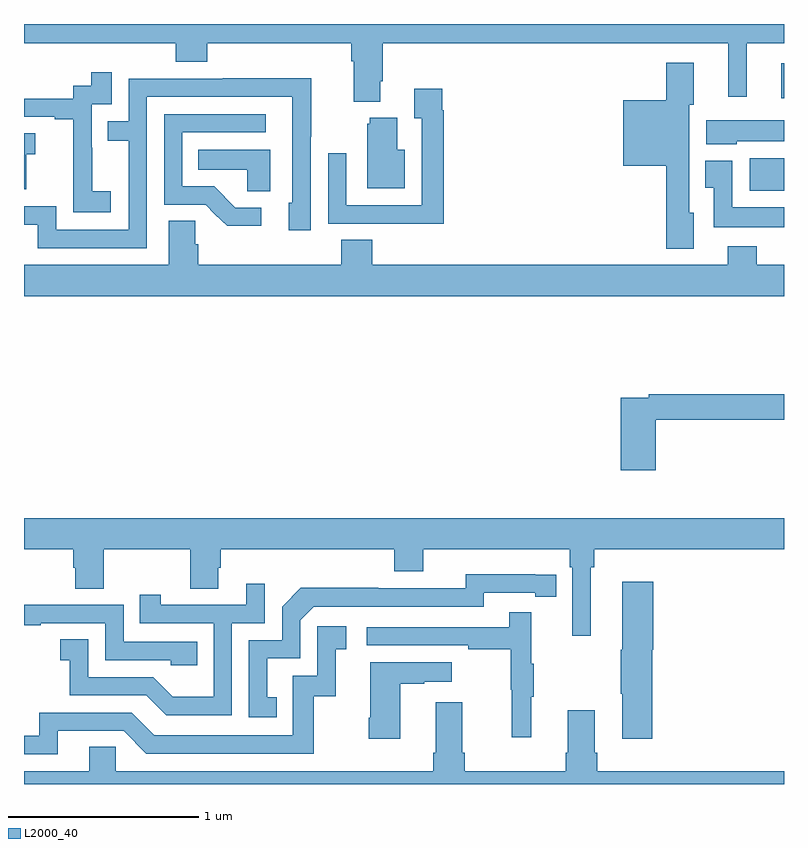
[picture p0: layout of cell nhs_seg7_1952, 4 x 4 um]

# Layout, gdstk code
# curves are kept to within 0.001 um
import gdstk
lib = gdstk.Library(unit=1e-6, precision=1e-09)
def R(c, l, rs):  # rectangles x0, y0, x1, y1
    for r in rs: c.add(gdstk.rectangle(r[:2], r[2:], *l))
def P(c, l, *ps):  # polygons
    for p in ps: c.add(gdstk.Polygon(p, *l))
L2000_40 = (2000, 40)

nhs_seg7_1952 = lib.new_cell('nhs_seg7_1952')
R(nhs_seg7_1952, L2000_40, [(244.82,1049.123,245,1049.293), (244.985,1049.609,245,1049.794)])
P(nhs_seg7_1952, L2000_40, [(242.875,1049.698),(242.888,1049.698),(242.888,1049.9),(244.706,1049.9),(244.706,1049.616),(244.805,1049.616),(244.805,1049.9),(245,1049.9),(245,1050),(241,1050),(241,1049.9),(241.799,1049.9),(241.799,1049.801),(241.964,1049.801),(241.964,1049.9),(242.723,1049.9),(242.723,1049.804),(242.735,1049.804),(242.735,1049.591),(242.875,1049.591)],
  [(244.525,1049.007),(244.501,1049.007),(244.501,1049.574),(244.525,1049.574),(244.525,1049.797),(244.379,1049.797),(244.379,1049.599),(244.154,1049.599),(244.154,1049.255),(244.379,1049.255),(244.379,1048.817),(244.525,1048.817)],
  [(241.456,1049.119),(241.358,1049.119),(241.358,1049.348),(241.356,1049.348),(241.356,1049.577),(241.461,1049.577),(241.461,1049.746),(241.353,1049.746),(241.353,1049.676),(241.26,1049.676),(241.26,1049.607),(241,1049.607),(241,1049.511),(241.163,1049.511),(241.163,1049.499),(241.259,1049.499),(241.259,1049.215),(241.258,1049.215),(241.258,1049.009),(241.456,1049.009)],
  [(241.647,1049.616),(242.412,1049.616),(242.412,1049.058),(242.393,1049.058),(242.393,1048.914),(242.508,1048.914),(242.508,1049.407),(242.511,1049.407),(242.511,1049.714),(242.047,1049.714),(242.047,1049.712),(241.551,1049.712),(241.551,1049.487),(241.441,1049.487),(241.441,1049.386),(241.551,1049.386),(241.551,1048.917),(241.17,1048.917),(241.17,1049.04),(241,1049.04),(241,1048.944),(241.073,1048.944),(241.073,1048.821),(241.647,1048.821)],
  [(243.209,1049.546),(243.202,1049.546),(243.202,1049.659),(243.053,1049.659),(243.053,1049.503),(243.093,1049.503),(243.093,1049.046),(242.697,1049.046),(242.697,1049.32),(242.601,1049.32),(242.601,1048.95),(242.917,1048.95),(242.917,1048.949),(243.209,1048.949)],
  [(242.248,1049.034),(242.113,1049.034),(242.002,1049.145),(241.833,1049.145),(241.833,1049.43),(242.272,1049.43),(242.272,1049.526),(241.737,1049.526),(241.737,1049.049),(241.956,1049.049),(242.069,1048.937),(242.248,1048.937)],
  [(243.004,1049.338),(242.965,1049.338),(242.965,1049.506),(242.819,1049.506),(242.819,1049.475),(242.807,1049.475),(242.807,1049.135),(243.004,1049.135)],
  [(244.752,1049.384),(245,1049.384),(245,1049.494),(244.59,1049.494),(244.59,1049.366),(244.752,1049.366)],
  [(241.011,1049.315),(241.06,1049.315),(241.06,1049.425),(241,1049.425),(241,1049.13),(241.011,1049.13)],
  [(242.296,1049.338),(241.918,1049.338),(241.918,1049.234),(242.175,1049.234),(242.175,1049.119),(242.296,1049.119)],
  [(245,1049.035),(244.728,1049.035),(244.728,1049.281),(244.586,1049.281),(244.586,1049.137),(244.631,1049.137),(244.631,1048.931),(245,1048.931)],
  [(242.669,1048.865),(242.669,1048.732),(241.916,1048.732),(241.916,1048.841),(241.902,1048.841),(241.902,1048.964),(241.763,1048.964),(241.763,1048.732),(241,1048.732),(241,1048.568),(245,1048.568),(245,1048.732),(244.856,1048.732),(244.856,1048.831),(244.703,1048.831),(244.703,1048.732),(242.834,1048.732),(242.834,1048.865)],
  [(244.325,1047.916),(245,1047.916),(245,1048.052),(244.288,1048.052),(244.288,1048.032),(244.142,1048.032),(244.142,1047.651),(244.325,1047.651)],
  [(243.982,1047.14),(244.001,1047.14),(244.001,1047.236),(245,1047.236),(245,1047.4),(241,1047.4),(241,1047.236),(241.259,1047.236),(241.259,1047.138),(241.271,1047.138),(241.271,1047.028),(241.419,1047.028),(241.419,1047.236),(241.876,1047.236),(241.876,1047.028),(242.023,1047.028),(242.023,1047.138),(242.036,1047.138),(242.036,1047.236),(242.948,1047.236),(242.948,1047.119),(243.1,1047.119),(243.1,1047.236),(243.872,1047.236),(243.872,1047.14),(243.885,1047.14),(243.885,1046.781),(243.982,1046.781)],
  [(242.33,1046.457),(242.281,1046.457),(242.281,1046.661),(242.454,1046.661),(242.454,1046.862),(242.526,1046.934),(243.42,1046.934),(243.42,1047.006),(243.692,1047.006),(243.692,1046.986),(243.8,1046.986),(243.8,1047.102),(243.324,1047.103),(243.324,1047.03),(242.864,1047.03),(242.864,1047.032),(242.456,1047.032),(242.358,1046.934),(242.358,1046.757),(242.184,1046.757),(242.184,1046.352),(242.33,1046.352)],
  [(244.307,1046.706),(244.312,1046.706),(244.312,1047.064),(244.148,1047.064),(244.148,1046.706),(244.141,1046.706),(244.141,1046.476),(244.148,1046.476),(244.148,1046.238),(244.307,1046.238)],
  [(242.094,1046.847),(242.268,1046.847),(242.268,1047.055),(242.171,1047.055),(242.171,1046.943),(241.72,1046.943),(241.72,1046.995),(241.609,1046.995),(241.609,1046.847),(241.998,1046.847),(241.998,1046.458),(241.784,1046.458),(241.68,1046.562),(241.338,1046.562),(241.338,1046.761),(241.191,1046.761),(241.191,1046.651),(241.24,1046.651),(241.24,1046.466),(241.643,1046.466),(241.748,1046.361),(242.094,1046.361)],
  [(241.913,1046.748),(241.524,1046.748),(241.524,1046.943),(241,1046.943),(241,1046.835),(241.087,1046.835),(241.087,1046.847),(241.428,1046.847),(241.428,1046.652),(241.773,1046.652),(241.773,1046.625),(241.913,1046.625)],
  [(243.671,1046.459),(243.682,1046.459),(243.682,1046.633),(243.671,1046.633),(243.671,1046.905),(243.553,1046.905),(243.553,1046.826),(242.805,1046.826),(242.805,1046.73),(243.337,1046.73),(243.337,1046.71),(243.561,1046.71),(243.561,1046.496),(243.568,1046.496),(243.568,1046.247),(243.671,1046.247)],
  [(241.177,1046.28),(241.524,1046.28),(241.644,1046.16),(242.524,1046.16),(242.524,1046.463),(242.642,1046.463),(242.642,1046.709),(242.695,1046.709),(242.695,1046.83),(242.544,1046.83),(242.544,1046.571),(242.415,1046.571),(242.415,1046.256),(241.686,1046.256),(241.566,1046.376),(241.08,1046.376),(241.08,1046.253),(241,1046.253),(241,1046.157),(241.177,1046.157)],
  [(242.98,1046.527),(243.107,1046.527),(243.107,1046.537),(243.25,1046.537),(243.25,1046.641),(242.822,1046.641),(242.822,1046.35),(242.815,1046.35),(242.815,1046.238),(242.98,1046.238)],
  [(245,1046.068),(244.016,1046.068),(244.016,1046.164),(244.003,1046.164),(244.003,1046.389),(243.863,1046.389),(243.863,1046.164),(243.851,1046.164),(243.851,1046.068),(243.32,1046.068),(243.32,1046.164),(243.307,1046.164),(243.307,1046.43),(243.167,1046.43),(243.167,1046.164),(243.155,1046.164),(243.155,1046.068),(241.482,1046.068),(241.482,1046.195),(241.343,1046.195),(241.343,1046.068),(241,1046.068),(241,1046),(245,1046)])

lib.write_gds('nhs_seg7_1952.gds')
